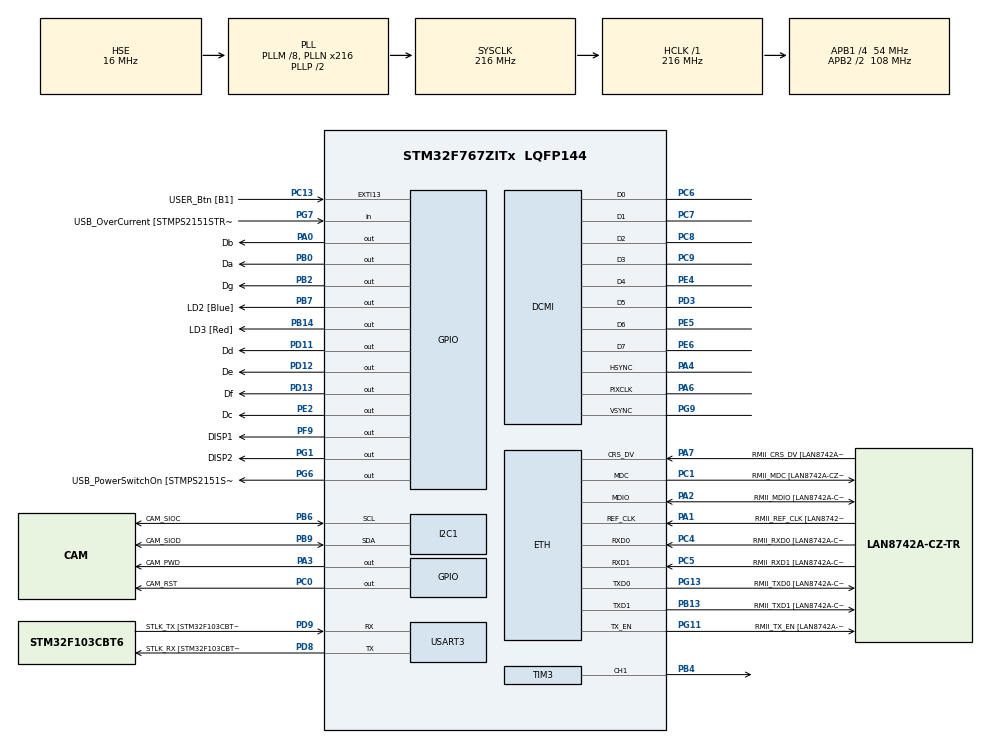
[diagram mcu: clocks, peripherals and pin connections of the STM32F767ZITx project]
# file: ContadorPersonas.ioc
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DCMI.HSPolarity=DCMI_HSPOLARITY_LOW
DCMI.PCKPolarity=DCMI_PCKPOLARITY_RISING
DCMI.VSPolarity=DCMI_VSPOLARITY_HIGH
Dma.DCMI.0.Direction=DMA_PERIPH_TO_MEMORY
Dma.DCMI.0.FIFOMode=DMA_FIFOMODE_ENABLE
Dma.DCMI.0.FIFOThreshold=DMA_FIFO_THRESHOLD_FULL
Dma.DCMI.0.Instance=DMA2_Stream1
Dma.DCMI.0.MemBurst=DMA_MBURST_SINGLE
Dma.DCMI.0.MemDataAlignment=DMA_MDATAALIGN_WORD
Dma.DCMI.0.MemInc=DMA_MINC_ENABLE
Dma.DCMI.0.Mode=DMA_CIRCULAR
Dma.DCMI.0.PeriphBurst=DMA_PBURST_SINGLE
Dma.DCMI.0.PeriphDataAlignment=DMA_PDATAALIGN_WORD
Dma.DCMI.0.PeriphInc=DMA_PINC_DISABLE
Dma.DCMI.0.Priority=DMA_PRIORITY_MEDIUM
Dma.Request0=DCMI
ETH.MACAddr=00\:80\:E1\:03\:35\:AA
ETH.MediaInterface=ETH_MEDIA_INTERFACE_RMII
ETH.PhyAddress=0
I2C1.Analog_Filter=I2C_ANALOGFILTER_ENABLE
I2C1.DualAddressMode=I2C_DUALADDRESS_DISABLE
I2C1.Timing=0x20404768
LWIP.GATEWAY_ADDRESS=192.168.000.001
LWIP.IP_ADDRESS=192.168.000.030
LWIP.LWIP_DHCP=0
LWIP.MEMP_NUM_TCP_PCB=1
LWIP.MEMP_NUM_TCP_PCB_LISTEN=1
LWIP.MEMP_NUM_UDP_PCB=1
LWIP.MEM_SIZE=350
LWIP.NETMASK_ADDRESS=255.255.255.000
LWIP.PBUF_POOL_BUFSIZE=650
LWIP.TCP_MSS=650
LWIP.TCP_SND_QUEUELEN=9
LWIP.TCP_TTL=10
LWIP.TCP_WND=700
LWIP.Version=v2.0.3_Cube
Mcu.Family=STM32F7
Mcu.Name=STM32F767ZITx
Mcu.Package=LQFP144
NVIC.DCMI_IRQn=true\:5\:0\:true\:false\:true\:true\:true
NVIC.DMA2_Stream1_IRQn=true\:5\:0\:true\:false\:true\:false\:true
NVIC.PriorityGroup=NVIC_PRIORITYGROUP_4
NVIC.TIM2_IRQn=true\:15\:0\:true\:false\:true\:true\:true
PA0/WKUP.GPIO_Label=Db
PA0/WKUP.Signal=GPIO_Output
PA1.GPIO_Label=RMII_REF_CLK [LAN8742A-CZ-TR_REFCLK0]
PA1.Mode=RMII
PA1.Signal=ETH_REF_CLK
PA10.GPIO_Label=USB_ID
PA10.Signal=USB_OTG_FS_ID
PA11.GPIO_Label=USB_DM
PA11.Signal=USB_OTG_FS_DM
PA12.GPIO_Label=USB_DP
PA12.Signal=USB_OTG_FS_DP
PA13.GPIO_Label=TMS
PA13.Signal=SYS_JTMS-SWDIO
PA14.GPIO_Label=TCK
PA14.Signal=SYS_JTCK-SWCLK
PA2.GPIO_Label=RMII_MDIO [LAN8742A-CZ-TR_MDIO]
PA2.Mode=RMII
PA2.Signal=ETH_MDIO
PA3.GPIO_Label=CAM_PWD
PA3.Signal=GPIO_Output
PA4.Mode=Slave_8_bits_External_Synchro
PA4.Signal=DCMI_HSYNC
PA6.Mode=Slave_8_bits_External_Synchro
PA6.Signal=DCMI_PIXCLK
PA7.GPIO_Label=RMII_CRS_DV [LAN8742A-CZ-TR_CRS_DV]
PA7.Mode=RMII
PA7.Signal=ETH_CRS_DV
PA8.GPIO_Label=USB_SOF [TP1]
PA8.Signal=USB_OTG_FS_SOF
PA9.GPIO_Label=USB_VBUS
PA9.Signal=USB_OTG_FS_VBUS
PB0.GPIO_Label=Da
PB0.Signal=GPIO_Output
PB13.GPIO_Label=RMII_TXD1 [LAN8742A-CZ-TR_TXD1]
PB13.Mode=RMII
PB13.Signal=ETH_TXD1
PB14.GPIO_Label=LD3 [Red]
PB14.GPIO_Speed=GPIO_SPEED_FREQ_VERY_HIGH
PB14.Signal=GPIO_Output
PB2.GPIO_Label=Dg
PB2.Signal=GPIO_Output
PB3.GPIO_Label=SW0
PB3.Signal=SYS_JTDO-SWO
PB4.Signal=S_TIM3_CH1
PB6.GPIO_Label=CAM_SIOC
PB6.GPIO_Speed=GPIO_SPEED_FREQ_HIGH
PB6.Mode=I2C
PB6.Signal=I2C1_SCL
PB7.GPIO_Label=LD2 [Blue]
PB7.Signal=GPIO_Output
PB9.GPIO_Label=CAM_SIOD
PB9.GPIO_Speed=GPIO_SPEED_FREQ_HIGH
PB9.Mode=I2C
PB9.Signal=I2C1_SDA
PC0.GPIO_Label=CAM_RST
PC0.Signal=GPIO_Output
PC1.GPIO_Label=RMII_MDC [LAN8742A-CZ-TR_MDC]
PC1.Mode=RMII
PC1.Signal=ETH_MDC
PC13.GPIO_Label=USER_Btn [B1]
PC13.Signal=GPXTI13
PC14/OSC32_IN.Signal=RCC_OSC32_IN
PC15/OSC32_OUT.Signal=RCC_OSC32_OUT
PC4.GPIO_Label=RMII_RXD0 [LAN8742A-CZ-TR_RXD0]
PC4.Mode=RMII
PC4.Signal=ETH_RXD0
PC5.GPIO_Label=RMII_RXD1 [LAN8742A-CZ-TR_RXD1]
PC5.Mode=RMII
PC5.Signal=ETH_RXD1
PC6.Mode=Slave_8_bits_External_Synchro
PC6.Signal=DCMI_D0
PC7.Mode=Slave_8_bits_External_Synchro
PC7.Signal=DCMI_D1
PC8.Mode=Slave_8_bits_External_Synchro
PC8.Signal=DCMI_D2
PC9.Mode=Slave_8_bits_External_Synchro
PC9.Signal=DCMI_D3
PD11.GPIO_Label=Dd
PD11.Signal=GPIO_Output
PD12.GPIO_Label=De
PD12.Signal=GPIO_Output
PD13.GPIO_Label=Df
PD13.Signal=GPIO_Output
PD3.Mode=Slave_8_bits_External_Synchro
PD3.Signal=DCMI_D5
PD8.GPIO_Label=STLK_RX [STM32F103CBT6_PA3]
PD8.GPIO_PuPd=GPIO_PULLUP
PD8.Mode=Asynchronous
PD8.Signal=USART3_TX
PD9.GPIO_Label=STLK_TX [STM32F103CBT6_PA2]
PD9.GPIO_PuPd=GPIO_PULLUP
PD9.Mode=Asynchronous
PD9.Signal=USART3_RX
PE2.GPIO_Label=Dc
PE2.Signal=GPIO_Output
PE4.Mode=Slave_8_bits_External_Synchro
PE4.Signal=DCMI_D4
PE5.Mode=Slave_8_bits_External_Synchro
PE5.Signal=DCMI_D6
PE6.Mode=Slave_8_bits_External_Synchro
PE6.Signal=DCMI_D7
PF9.GPIO_Label=DISP1
PF9.GPIO_ModeDefaultOutputPP=GPIO_MODE_OUTPUT_OD
PF9.PinState=GPIO_PIN_SET
PF9.Signal=GPIO_Output
PG1.GPIO_Label=DISP2
PG1.GPIO_ModeDefaultOutputPP=GPIO_MODE_OUTPUT_OD
PG1.PinState=GPIO_PIN_SET
PG1.Signal=GPIO_Output
PG11.GPIO_Label=RMII_TX_EN [LAN8742A-CZ-TR_TXEN]
PG11.Mode=RMII
PG11.Signal=ETH_TX_EN
PG13.GPIO_Label=RMII_TXD0 [LAN8742A-CZ-TR_TXD0]
PG13.Mode=RMII
PG13.Signal=ETH_TXD0
PG6.GPIO_Label=USB_PowerSwitchOn [STMPS2151STR_EN]
PG6.Signal=GPIO_Output
PG7.GPIO_Label=USB_OverCurrent [STMPS2151STR_FAULT]
PG7.Signal=GPIO_Input
PG9.Mode=Slave_8_bits_External_Synchro
PG9.Signal=DCMI_VSYNC
PH0/OSC_IN.GPIO_Label=MCO [STM32F103CBT6_PA8]
PH0/OSC_IN.Mode=HSE-External-Oscillator
PH0/OSC_IN.Signal=RCC_OSC_IN
PH1/OSC_OUT.Mode=HSE-External-Oscillator
PH1/OSC_OUT.Signal=RCC_OSC_OUT
ProjectManager.HeapSize=0x200
ProjectManager.StackSize=0x400
ProjectManager.TargetToolchain=TrueSTUDIO
RCC.48MHZClocksFreq_Value=24000000
RCC.AHBFreq_Value=216000000
RCC.APB1CLKDivider=RCC_HCLK_DIV4
RCC.APB1Freq_Value=54000000
RCC.APB1TimFreq_Value=108000000
RCC.APB2CLKDivider=RCC_HCLK_DIV2
RCC.APB2Freq_Value=108000000
RCC.APB2TimFreq_Value=216000000
RCC.CortexFreq_Value=216000000
RCC.HCLKFreq_Value=216000000
RCC.HSE_VALUE=16000000
RCC.HSI_VALUE=16000000
RCC.LSE_VALUE=32768
RCC.PLLM=8
RCC.PLLMUL=RCC_PLL_MUL9
RCC.PLLN=216
RCC.PLLSourceVirtual=RCC_PLLSOURCE_HSE
RCC.PRESCALERUSB=RCC_USBCLKSOURCE_PLL_DIV1_5
RCC.SYSCLKFreq_VALUE=216000000
RCC.SYSCLKSource=RCC_SYSCLKSOURCE_PLLCLK
RCC.SYSCLKSourceVirtual=RCC_SYSCLKSOURCE_PLLCLK
RCC.USART3CLockSelection=RCC_USART3CLKSOURCE_HSI
RCC.USBFreq_Value=216000000
RCC.VCOOutputFreq_Value=432000000
SH.S_TIM3_CH1.0=TIM3_CH1,PWM Generation1 CH1
TIM2.AutoReloadPreload=TIM_AUTORELOAD_PRELOAD_ENABLE
TIM2.Period=20
TIM2.Prescaler=10000
TIM3.AutoReloadPreload=TIM_AUTORELOAD_PRELOAD_ENABLE
TIM3.Channel-PWM\ Generation1\ CH1=TIM_CHANNEL_1
TIM3.Period=2
TIM3.Prescaler=1
TIM3.Pulse-PWM\ Generation1\ CH1=1
USART3.VirtualMode-Asynchronous=VM_ASYNC
VP_LWIP_VS_Enabled.Mode=Enabled
VP_TIM2_VS_ClockSourceINT.Mode=Internal
VP_TIM3_VS_ClockSourceINT.Mode=Internal
board=NUCLEO-F767ZI

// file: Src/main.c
/* USER CODE BEGIN Header */
/**
 ******************************************************************************
 * @file           : main.c
 * @brief          : Main program body
 ******************************************************************************
 * @attention
 *
 * <h2><center>&copy; Copyright (c) 2019 STMicroelectronics.
 * All rights reserved.</center></h2>
 *
 * This software component is licensed by ST under BSD 3-Clause license,
 * the "License"; You may not use this file except in compliance with the
 * License. You may obtain a copy of the License at:
 *                        opensource.org/licenses/BSD-3-Clause
 *
 ******************************************************************************
 */
/* USER CODE END Header */

#include "main.h"
#include "lwip.h"

/* USER CODE BEGIN Includes */

#include <stdio.h>
#include <tcp.h>
#include <string.h>
#include "dwt_delay.h"
#include "ov7670.h"
#include "funciones.h"
#include "global.h"
//#include "OV7670_control.h"

/* USER CODE END Includes */

/* USER CODE BEGIN PTD */

// Image settings

#define COLOR	0

/*
struct tcp_pcb* conn;
struct tcp_pcb* socket;
extern struct netif gnetif;
*/

uint16_t rowEnv = 0;
uint8_t flagEnviando = 0;

char s_buff[30];
uint8_t flagTCP = 0;
uint32_t tiempo = 0;
uint8_t numero = 0;
uint8_t brillo = 2;
uint8_t digTurno = 0;
uint8_t dig7seg[] =
		{ 0x3F, 0x06, 0x5B, 0x4F, 0x66, 0x6D, 0x7D, 0x07, 0x7F, 0x67 };

// Image buffer
uint16_t frame_buffer[IMG_ROWS * IMG_COLUMNS];
uint8_t img1[IMG_ROWS * IMG_COLUMNS];
uint8_t img2[IMG_ROWS * IMG_COLUMNS];
uint8_t img3[IMG_ROWS * IMG_COLUMNS];

uint8_t flagFrame = 0;

/* USER CODE END PTD */

DCMI_HandleTypeDef hdcmi;
DMA_HandleTypeDef hdma_dcmi;

I2C_HandleTypeDef hi2c1;

TIM_HandleTypeDef htim2;
TIM_HandleTypeDef htim3;

UART_HandleTypeDef huart3;

/* USER CODE BEGIN PV */

// Redirecciono el 'printf' al UART 3
extern int __io_putchar(int ch) {
	HAL_UART_Transmit(&huart3, (uint8_t*) &ch, 1, 0xFFFF);
	return ch;
}

/* USER CODE END PV */

void SystemClock_Config(void);
static void MX_GPIO_Init(void);
static void MX_DMA_Init(void);
static void MX_TIM2_Init(void);
static void MX_TIM3_Init(void);
static void MX_USART3_UART_Init(void);
static void MX_DCMI_Init(void);
static void MX_I2C1_Init(void);

/* USER CODE BEGIN 0 */
void HAL_DCMI_FrameEventCallback(DCMI_HandleTypeDef *obj) {
	if (hdcmi.Instance != obj->Instance)
		return;

	HAL_GPIO_TogglePin(LD2_GPIO_Port, LD2_Pin);
	flagFrame = 1;
}

// Barrido de Displays
void HAL_TIM_PeriodElapsedCallback(TIM_HandleTypeDef *htim) {
	if (htim->Instance != htim2.Instance)
		return;

	//Apagar
	HAL_GPIO_WritePin(DISP1_GPIO_Port, DISP1_Pin, GPIO_PIN_SET);
	HAL_GPIO_WritePin(DISP2_GPIO_Port, DISP2_Pin, GPIO_PIN_SET);

	digTurno++;

	if (digTurno % brillo) {
		return;
	}

	if (digTurno >= (brillo * 2)) {
		digTurno = 0;
	}

	GPIO_TypeDef* Puerto = DISP1_GPIO_Port;
	uint16_t Pin = DISP1_Pin;
	uint8_t valor = numero % 10;

	if (digTurno) {
		Puerto = DISP2_GPIO_Port;
		Pin = DISP2_Pin;
		valor = numero / 10;
	}

	if (valor > 9)
		valor = 9;

	uint8_t digito = dig7seg[valor];

	// Quitar el 0 en numeros menores a 10.
	if (digTurno && !valor) {
		digito = 0;
	}

	HAL_GPIO_WritePin(Da_GPIO_Port, Da_Pin,
			(digito & 0x01) ? GPIO_PIN_SET : GPIO_PIN_RESET);
	HAL_GPIO_WritePin(Db_GPIO_Port, Db_Pin,
			(digito & 0x02) ? GPIO_PIN_SET : GPIO_PIN_RESET);
	HAL_GPIO_WritePin(Dc_GPIO_Port, Dc_Pin,
			(digito & 0x04) ? GPIO_PIN_SET : GPIO_PIN_RESET);
	HAL_GPIO_WritePin(Dd_GPIO_Port, Dd_Pin,
			(digito & 0x08) ? GPIO_PIN_SET : GPIO_PIN_RESET);
	HAL_GPIO_WritePin(De_GPIO_Port, De_Pin,
			(digito & 0x10) ? GPIO_PIN_SET : GPIO_PIN_RESET);
	HAL_GPIO_WritePin(Df_GPIO_Port, Df_Pin,
			(digito & 0x20) ? GPIO_PIN_SET : GPIO_PIN_RESET);
	HAL_GPIO_WritePin(Dg_GPIO_Port, Dg_Pin,
			(digito & 0x40) ? GPIO_PIN_SET : GPIO_PIN_RESET);

	//Prender
	HAL_GPIO_WritePin(Puerto, Pin, GPIO_PIN_RESET);
}

int getTiempoMS() {
	int res = HAL_GetTick() - tiempo;
	tiempo = HAL_GetTick();
	return res;
}
/*

err_t tcp_echoserver_recv(void *arg, struct tcp_pcb *tpcb, struct pbuf *p,
		err_t err) {

	char* buff = (char*) p->payload;
	buff[p->len] = 0;

	printf("TCP_Recv: (%i) '%s'\r\n", err, buff);
	if (strcmp(buff, "<FRAME>") == 0) {
		flagTCP = 1;
	} else if (strcmp(buff, "<CLOSE>") == 0) {
		tcp_arg(tpcb, NULL);
		tcp_sent(tpcb, NULL);
		tcp_recv(tpcb, NULL);
		tcp_close(tpcb);

		printf("TCP Close\r\n");
	}

	// Avisar a TCP que tenemos los datos
	tcp_recved(tpcb, p->tot_len);

	//Free the packet buffer
	pbuf_free(p);
	return err;
}

void enviarIMG(void) {
	sprintf(s_buff, "<FRAME:%u:%u:%u>", IMG_ROWS, IMG_COLUMNS, COLOR);
	rowEnv = 0;
	tcp_write(socket, s_buff, strlen(s_buff), 0);
}

err_t tcp_echoserver_sent(void *arg, struct tcp_pcb *tpcb, u16_t len) {
	//printf("TCP_Sent: %u,  fila: %u \n", len, rowEnv);

	// Se termino de enviar <FIN>
	if (len == 5) {
		flagEnviando = 0;

		return ERR_ALREADY;
	}

	// Ultima FILA enviada
	if (rowEnv == IMG_ROWS) {
		printf("IMG_FIN\r\n");
		tcp_write(socket, "<FIN>", 5, 0);
		return ERR_OK;
	}

	// Termino de enviar la cabecera.
#if COLOR==1
	if (len > 10 && len < (IMG_COLUMNS / 2)) {
#else
	if (len > 10 && len < (IMG_COLUMNS / 4)) {
#endif
		//printf("Primero\r\n");
		rowEnv = 0;
	}

	// Envio de la fila actual (rowEnv)
#if COLOR==1
	uint8_t* ptr = (uint8_t *) frame_buffer;
	ptr += rowEnv * IMG_COLUMNS * 2;

	tcp_write(socket, ptr, IMG_COLUMNS * 2, 0);
#else
	uint8_t* ptr = (uint8_t *) img3;
	ptr += rowEnv * IMG_COLUMNS;

	tcp_write(socket, ptr, IMG_COLUMNS, 0);
#endif
	rowEnv++;

	return ERR_OK;

}

void tcp_echoserver_error(void *arg, err_t err) {
	printf("TCP_ERROR! %i\r\n", err);
}
*/

/*
 err_t tcp_echoserver_poll(void *arg, struct tcp_pcb *tpcb){
 printf("TCP_Poll\n");
 return ERR_OK;
 }
 */

/*
static err_t tcp_echoserver_accept(void *arg, struct tcp_pcb *newpcb, err_t err) {
	printf("\nTCP_echoserver_accept\r\n");

	tcp_accepted(newpcb);

	if (socket != NULL) {
		memp_free(MEMP_TCP_PCB, socket);
	}

	socket = newpcb;
	// pass newly allocated es structure as argument to newpcb
	tcp_arg(newpcb, NULL);

	// initialize lwIP tcp_recv callback function for newpcb
	tcp_recv(newpcb, tcp_echoserver_recv);

	tcp_sent(newpcb, tcp_echoserver_sent);

	// initialize lwIP tcp_err callback function for newpcb
	tcp_err(newpcb, tcp_echoserver_error);

	// initialize lwIP tcp_poll callback function for newpcb
	//tcp_poll(newpcb, tcp_echoserver_poll, 1);
	return ERR_OK;
}
*/

/* USER CODE END 0 */

int main(void)
{

  /* MCU Configuration--------------------------------------------------------*/

  /* Reset of all peripherals, Initializes the Flash interface and the Systick. */
  HAL_Init();

  /* Configure the system clock */
  SystemClock_Config();

  /* Initialize all configured peripherals */
  MX_GPIO_Init();
  MX_DMA_Init();
  MX_TIM2_Init();
  MX_TIM3_Init();
  MX_USART3_UART_Init();
  MX_DCMI_Init();
  MX_I2C1_Init();
  //MX_LWIP_Init();
  /* USER CODE BEGIN 2 */

	// Probar
	// https://github.com/erikandre/stm32-ov7670/blob/master/src/OV7670_control.c
	HAL_GPIO_WritePin(LD2_GPIO_Port, LD2_Pin, GPIO_PIN_SET);
	HAL_GPIO_WritePin(LD3_GPIO_Port, LD3_Pin, GPIO_PIN_SET);
	HAL_Delay(300);
	HAL_GPIO_WritePin(LD2_GPIO_Port, LD2_Pin, GPIO_PIN_RESET);
	HAL_GPIO_WritePin(LD3_GPIO_Port, LD3_Pin, GPIO_PIN_RESET);

	printf("\n\n\n\n\nEMPEZANDO!\r\n\n");

	// DHCP
	//printf("Asignacion DHCP\r\n");

	uint8_t primero = 1;
//	while (1) {
//		MX_LWIP_Process();
//		if (gnetif.ip_addr.addr != 0) {
//			HAL_GPIO_WritePin(LD3_GPIO_Port, LD3_Pin, GPIO_PIN_SET);
//
//			uint32_t ip = gnetif.ip_addr.addr;
//
//			printf("IP Asignada: %i.%i.%i.%i\r\n", (uint8_t) ip,
//					(uint8_t) (ip >> 8), (uint8_t) (ip >> 16),
//					(uint8_t) (ip >> 24));
//
//			break;
//		}
//		HAL_Delay(10);
//	}
	//

	DWT_Init(); // Delay de micro segundos

	tiempo = HAL_GetTick();

	HAL_TIM_Base_Start_IT(&htim2);

	// CLK Init
	HAL_TIM_PWM_Start(&htim3, TIM_CHANNEL_1);

	while (!OV7670_init()) {
		printf("CAM: Error al Inicializar.\r\n");
		HAL_Delay(300);
	}

	OV7670_config();

	printf("CAM: Init (%ums)\r\n", getTiempoMS());

	uint32_t Im_size = IMG_ROWS * IMG_COLUMNS / 2;

	HAL_DCMI_Start_DMA(&hdcmi, DCMI_MODE_CONTINUOUS, (uint32_t) frame_buffer,
			Im_size);

	//Crear Conexion TCP Server
	//socket = NULL;
	//err_t tcp_err;

	//printf("Creando TCP_PCB\r\n");
	//conn = tcp_new();

//	printf("TCP BIND\r\n");
//	tcp_err = tcp_bind(conn, IP_ADDR_ANY, 7777); // Puerto 7777
//
//	if (tcp_err == ERR_OK) {
//		printf("TCP ESCUCHANDO\r\n");
//		conn = tcp_listen(conn);
//
//		printf("TCP ACEPTANDO\r\n");
//		tcp_accept(conn, tcp_echoserver_accept);
//
//	} else {
//		printf("TCP No se pudo crear conexion\r\n");
//		memp_free(MEMP_TCP_PCB, conn);
//		conn = NULL;
//	}
	///////////////////

  /* USER CODE END 2 */

  /* Infinite loop */
  /* USER CODE BEGIN WHILE */

    // Definición de Parametros
    int linea1 = (int)((ANCHO / 2.0) * 1.2);
    int linea2 = (int)((ANCHO / 2.0) * 0.8);
    const int cteMovimiento = (int)(TOTAL * 0.01); // 1%
    //const int cteTamBlob = (int)(TOTAL * 0.05); // 5%;

    // Variables
    uint16_t* rectangulos = (uint16_t*) malloc(4); //rectangulo con x1,y1,x2,y2
    uint8_t estado = 0;
	uint8_t estado_ant = 0;
	uint8_t estados[20];
	for(uint8_t i=0; i < 20; i++) estados[i]=0;
	uint8_t ind_estado = 0;
	uint8_t direccion = 0;

	while (1) {
    /* USER CODE END WHILE */

    /* USER CODE BEGIN 3 */
		//MX_LWIP_Process();

		if(flagFrame){
			HAL_DCMI_Suspend(&hdcmi);

			//Proceso normal
			//Convertir imagen a GRIS
			for(uint32_t pos=0;pos < (IMG_COLUMNS * IMG_ROWS);pos++){
				uint16_t pixel = frame_buffer[pos];
				uint8_t r,g,b;

				// Formato RGB555
				b = pixel & 0x1f;
				g = (pixel >> 5) & 0x1f;
				r = (pixel >> 10) & 0x1f;
				img1[pos] = (b+g+r) / 3;
			}
			//Primera Imagen
			if(primero){
				primero = 0;
				copy(img1, img2);
			}

			diferencia(img1, img2, 10);

			int cont_blancos = conteo(img2);

			if(cont_blancos > cteMovimiento){
				// "CON MOVIMIENTO"
				printf("Con movimiento!\r\n");

				binarizar(img2, 10);

				erosion(img2);
				erosion(img2);
				erosion(img2);
				erosion(img2);
				erosion(img2);

				bound_rectangulo(img2, 255, rectangulos);

				estado = 0;
				direccion = 0;

				// Dibujar rectangulos contenedores de objetos
				uint16_t x1=0,x2=0;
				x1 = rectangulos[0];
				//y1 = rectangulos[ind_rect + 1];
				x2 = rectangulos[0 + 2];
				//y2 = rectangulos[ind_rect + 3];

				if((x1 < linea1) && (x2 > linea1)){
					estado |= (1 << 0);
					printf("LINEA UP\r\n");
					//cout << "LINEA UP: " << (int)estado << " - " << (int)estado_ant << endl;
				}

				if((x1 < linea2) && (x2 > linea2)){
					estado |= (1 << 1);
					printf("LINEA DW\r\n");
					//cout << "LINEA DW: " << (int)estado << " - " << (int)estado_ant << endl;
				}

				if(estado != estado_ant){
					estados[ind_estado] = estado;

					if(estado == 0 && ind_estado > 0){
						//cout << "Procesar: " << (int)estado << "|";
						//for(uint8_t i=0; i < 20; i++) cout << (int)estados[i];
						//cout << endl;

						for(uint8_t i=1; i < 20; i++){
							if(estados[i-1]==2 && estados[i]==0){
								if(estados[0]==1 || estados[0]==3)
									direccion = 1;
							}
							else if(estados[i-1]==1 && estados[i]==0){
								if(estados[0]==2 || estados[0]==3)
									direccion = 2;
							}
							else if(estados[i-1]==3 && estados[i]==0){
								if(estados[0]==1)
									direccion = 1;
								else if(estados[0]==2)
									direccion = 2;
							}
						}

						if(direccion == 1){
							printf("ENTRANDO!\r\n");
							numero++;
							if (numero > 99)
								numero = 99;
						}
						else if(direccion == 2){
							printf("SALIENDO!\r\n");
							numero--;
							if(numero < 0) numero = 0;
						}

						for(uint8_t i=0; i < 20; i++) estados[i]=0;
						ind_estado = 0;
					}
					else{
						ind_estado++;
					}

					estado_ant = estado;
				}
			}

//			// Enviar por TCP la Imagen
//			if (flagTCP) {
//				flagTCP = 0;
//
//				// Suspende captura de la camara
//				flagEnviando = 1;
//
//				printf("Enviar IMG por TCP\r\n");
//				copy(img2, img3);
//				enviarIMG();
//			}

			// Copiar imagen actual a anterior
			copy(img1, img2);

			flagFrame = 0;
			flagEnviando = 0;
		}

		if (!flagEnviando
				&& HAL_DCMI_GetState(&hdcmi) == HAL_DCMI_STATE_SUSPENDED) {
			//printf("Reanudar Captura Camara\r\n");
			HAL_GPIO_WritePin(LD3_GPIO_Port, LD3_Pin, GPIO_PIN_RESET);
			HAL_DCMI_Resume(&hdcmi);
		}

		/*
		 // Brillo
		 if (HAL_GPIO_ReadPin(USER_Btn_GPIO_Port, USER_Btn_Pin)) {
		 HAL_GPIO_WritePin(LD2_GPIO_Port, LD2_Pin, GPIO_PIN_SET);

		 brillo++;
		 if (brillo >= 12)
		 brillo = 2;

		 HAL_Delay(100);
		 } else {
		 HAL_GPIO_WritePin(LD2_GPIO_Port, LD2_Pin, GPIO_PIN_RESET);
		 }
		 */

	}
  /* USER CODE END 3 */
}

void SystemClock_Config(void)
{
  RCC_OscInitTypeDef RCC_OscInitStruct = {0};
  RCC_ClkInitTypeDef RCC_ClkInitStruct = {0};
  RCC_PeriphCLKInitTypeDef PeriphClkInitStruct = {0};

  /** Configure the main internal regulator output voltage
  */
  __HAL_RCC_PWR_CLK_ENABLE();
  __HAL_PWR_VOLTAGESCALING_CONFIG(PWR_REGULATOR_VOLTAGE_SCALE1);
  /** Initializes the CPU, AHB and APB busses clocks
  */
  RCC_OscInitStruct.OscillatorType = RCC_OSCILLATORTYPE_HSI|RCC_OSCILLATORTYPE_HSE;
  RCC_OscInitStruct.HSEState = RCC_HSE_ON;
  RCC_OscInitStruct.HSIState = RCC_HSI_ON;
  RCC_OscInitStruct.HSICalibrationValue = RCC_HSICALIBRATION_DEFAULT;
  RCC_OscInitStruct.PLL.PLLState = RCC_PLL_ON;
  RCC_OscInitStruct.PLL.PLLSource = RCC_PLLSOURCE_HSE;
  RCC_OscInitStruct.PLL.PLLM = 8;
  RCC_OscInitStruct.PLL.PLLN = 216;
  RCC_OscInitStruct.PLL.PLLP = RCC_PLLP_DIV2;
  RCC_OscInitStruct.PLL.PLLQ = 2;
  if (HAL_RCC_OscConfig(&RCC_OscInitStruct) != HAL_OK)
  {
    Error_Handler();
  }
  /** Activate the Over-Drive mode
  */
  if (HAL_PWREx_EnableOverDrive() != HAL_OK)
  {
    Error_Handler();
  }
  /** Initializes the CPU, AHB and APB busses clocks
  */
  RCC_ClkInitStruct.ClockType = RCC_CLOCKTYPE_HCLK|RCC_CLOCKTYPE_SYSCLK
                              |RCC_CLOCKTYPE_PCLK1|RCC_CLOCKTYPE_PCLK2;
  RCC_ClkInitStruct.SYSCLKSource = RCC_SYSCLKSOURCE_PLLCLK;
  RCC_ClkInitStruct.AHBCLKDivider = RCC_SYSCLK_DIV1;
  RCC_ClkInitStruct.APB1CLKDivider = RCC_HCLK_DIV4;
  RCC_ClkInitStruct.APB2CLKDivider = RCC_HCLK_DIV2;

  if (HAL_RCC_ClockConfig(&RCC_ClkInitStruct, FLASH_LATENCY_7) != HAL_OK)
  {
    Error_Handler();
  }
  PeriphClkInitStruct.PeriphClockSelection = RCC_PERIPHCLK_USART3|RCC_PERIPHCLK_I2C1;
  PeriphClkInitStruct.Usart3ClockSelection = RCC_USART3CLKSOURCE_HSI;
  PeriphClkInitStruct.I2c1ClockSelection = RCC_I2C1CLKSOURCE_PCLK1;
  if (HAL_RCCEx_PeriphCLKConfig(&PeriphClkInitStruct) != HAL_OK)
  {
    Error_Handler();
  }
}

static void MX_DCMI_Init(void)
{

  hdcmi.Instance = DCMI;
  hdcmi.Init.SynchroMode = DCMI_SYNCHRO_HARDWARE;
  hdcmi.Init.PCKPolarity = DCMI_PCKPOLARITY_RISING;
  hdcmi.Init.VSPolarity = DCMI_VSPOLARITY_HIGH;
  hdcmi.Init.HSPolarity = DCMI_HSPOLARITY_LOW;
  hdcmi.Init.CaptureRate = DCMI_CR_ALL_FRAME;
  hdcmi.Init.ExtendedDataMode = DCMI_EXTEND_DATA_8B;
  hdcmi.Init.JPEGMode = DCMI_JPEG_DISABLE;
  hdcmi.Init.ByteSelectMode = DCMI_BSM_ALL;
  hdcmi.Init.ByteSelectStart = DCMI_OEBS_ODD;
  hdcmi.Init.LineSelectMode = DCMI_LSM_ALL;
  hdcmi.Init.LineSelectStart = DCMI_OELS_ODD;
  if (HAL_DCMI_Init(&hdcmi) != HAL_OK)
  {
    Error_Handler();
  }

}

static void MX_I2C1_Init(void)
{

  hi2c1.Instance = I2C1;
  hi2c1.Init.Timing = 0x20404768;
  hi2c1.Init.OwnAddress1 = 0;
  hi2c1.Init.AddressingMode = I2C_ADDRESSINGMODE_7BIT;
  hi2c1.Init.DualAddressMode = I2C_DUALADDRESS_DISABLE;
  hi2c1.Init.OwnAddress2 = 0;
  hi2c1.Init.OwnAddress2Masks = I2C_OA2_NOMASK;
  hi2c1.Init.GeneralCallMode = I2C_GENERALCALL_DISABLE;
  hi2c1.Init.NoStretchMode = I2C_NOSTRETCH_DISABLE;
  if (HAL_I2C_Init(&hi2c1) != HAL_OK)
  {
    Error_Handler();
  }
  /** Configure Analogue filter
  */
  if (HAL_I2CEx_ConfigAnalogFilter(&hi2c1, I2C_ANALOGFILTER_ENABLE) != HAL_OK)
  {
    Error_Handler();
  }
  /** Configure Digital filter
  */
  if (HAL_I2CEx_ConfigDigitalFilter(&hi2c1, 0) != HAL_OK)
  {
    Error_Handler();
  }

}

static void MX_TIM2_Init(void)
{

  TIM_ClockConfigTypeDef sClockSourceConfig = {0};
  TIM_MasterConfigTypeDef sMasterConfig = {0};

  htim2.Instance = TIM2;
  htim2.Init.Prescaler = 10000;
  htim2.Init.CounterMode = TIM_COUNTERMODE_UP;
  htim2.Init.Period = 20;
  htim2.Init.ClockDivision = TIM_CLOCKDIVISION_DIV1;
  htim2.Init.AutoReloadPreload = TIM_AUTORELOAD_PRELOAD_ENABLE;
  if (HAL_TIM_Base_Init(&htim2) != HAL_OK)
  {
    Error_Handler();
  }
  sClockSourceConfig.ClockSource = TIM_CLOCKSOURCE_INTERNAL;
  if (HAL_TIM_ConfigClockSource(&htim2, &sClockSourceConfig) != HAL_OK)
  {
    Error_Handler();
  }
  sMasterConfig.MasterOutputTrigger = TIM_TRGO_RESET;
  sMasterConfig.MasterSlaveMode = TIM_MASTERSLAVEMODE_DISABLE;
  if (HAL_TIMEx_MasterConfigSynchronization(&htim2, &sMasterConfig) != HAL_OK)
  {
    Error_Handler();
  }

}

static void MX_TIM3_Init(void)
{

  TIM_ClockConfigTypeDef sClockSourceConfig = {0};
  TIM_MasterConfigTypeDef sMasterConfig = {0};
  TIM_OC_InitTypeDef sConfigOC = {0};

  htim3.Instance = TIM3;
  htim3.Init.Prescaler = 1;
  htim3.Init.CounterMode = TIM_COUNTERMODE_UP;
  htim3.Init.Period = 2;
  htim3.Init.ClockDivision = TIM_CLOCKDIVISION_DIV1;
  htim3.Init.AutoReloadPreload = TIM_AUTORELOAD_PRELOAD_ENABLE;
  if (HAL_TIM_Base_Init(&htim3) != HAL_OK)
  {
    Error_Handler();
  }
  sClockSourceConfig.ClockSource = TIM_CLOCKSOURCE_INTERNAL;
  if (HAL_TIM_ConfigClockSource(&htim3, &sClockSourceConfig) != HAL_OK)
  {
    Error_Handler();
  }
  if (HAL_TIM_PWM_Init(&htim3) != HAL_OK)
  {
    Error_Handler();
  }
  sMasterConfig.MasterOutputTrigger = TIM_TRGO_RESET;
  sMasterConfig.MasterSlaveMode = TIM_MASTERSLAVEMODE_DISABLE;
  if (HAL_TIMEx_MasterConfigSynchronization(&htim3, &sMasterConfig) != HAL_OK)
  {
    Error_Handler();
  }
  sConfigOC.OCMode = TIM_OCMODE_PWM1;
  sConfigOC.Pulse = 1;
  sConfigOC.OCPolarity = TIM_OCPOLARITY_HIGH;
  sConfigOC.OCFastMode = TIM_OCFAST_DISABLE;
  if (HAL_TIM_PWM_ConfigChannel(&htim3, &sConfigOC, TIM_CHANNEL_1) != HAL_OK)
  {
    Error_Handler();
  }
  HAL_TIM_MspPostInit(&htim3);

}

static void MX_USART3_UART_Init(void)
{

  huart3.Instance = USART3;
  huart3.Init.BaudRate = 9600;
  huart3.Init.WordLength = UART_WORDLENGTH_8B;
  huart3.Init.StopBits = UART_STOPBITS_1;
  huart3.Init.Parity = UART_PARITY_NONE;
  huart3.Init.Mode = UART_MODE_TX_RX;
  huart3.Init.HwFlowCtl = UART_HWCONTROL_NONE;
  huart3.Init.OverSampling = UART_OVERSAMPLING_16;
  huart3.Init.OneBitSampling = UART_ONE_BIT_SAMPLE_DISABLE;
  huart3.AdvancedInit.AdvFeatureInit = UART_ADVFEATURE_NO_INIT;
  if (HAL_UART_Init(&huart3) != HAL_OK)
  {
    Error_Handler();
  }

}

static void MX_DMA_Init(void)
{
  /* DMA controller clock enable */
  __HAL_RCC_DMA2_CLK_ENABLE();

  /* DMA interrupt init */
  /* DMA2_Stream1_IRQn interrupt configuration */
  HAL_NVIC_SetPriority(DMA2_Stream1_IRQn, 5, 0);
  HAL_NVIC_EnableIRQ(DMA2_Stream1_IRQn);

}

static void MX_GPIO_Init(void)
{
  GPIO_InitTypeDef GPIO_InitStruct = {0};

  /* GPIO Ports Clock Enable */
  __HAL_RCC_GPIOE_CLK_ENABLE();
  __HAL_RCC_GPIOC_CLK_ENABLE();
  __HAL_RCC_GPIOF_CLK_ENABLE();
  __HAL_RCC_GPIOH_CLK_ENABLE();
  __HAL_RCC_GPIOA_CLK_ENABLE();
  __HAL_RCC_GPIOB_CLK_ENABLE();
  __HAL_RCC_GPIOG_CLK_ENABLE();
  __HAL_RCC_GPIOD_CLK_ENABLE();

  /*Configure GPIO pin Output Level */
  HAL_GPIO_WritePin(Dc_GPIO_Port, Dc_Pin, GPIO_PIN_RESET);

  /*Configure GPIO pin Output Level */
  HAL_GPIO_WritePin(DISP1_GPIO_Port, DISP1_Pin, GPIO_PIN_SET);

  /*Configure GPIO pin Output Level */
  HAL_GPIO_WritePin(CAM_RST_GPIO_Port, CAM_RST_Pin, GPIO_PIN_RESET);

  /*Configure GPIO pin Output Level */
  HAL_GPIO_WritePin(GPIOA, Db_Pin|CAM_PWD_Pin, GPIO_PIN_RESET);

  /*Configure GPIO pin Output Level */
  HAL_GPIO_WritePin(GPIOB, Da_Pin|Dg_Pin|LD3_Pin|LD2_Pin, GPIO_PIN_RESET);

  /*Configure GPIO pin Output Level */
  HAL_GPIO_WritePin(DISP2_GPIO_Port, DISP2_Pin, GPIO_PIN_SET);

  /*Configure GPIO pin Output Level */
  HAL_GPIO_WritePin(GPIOD, Dd_Pin|De_Pin|Df_Pin, GPIO_PIN_RESET);

  /*Configure GPIO pin Output Level */
  HAL_GPIO_WritePin(USB_PowerSwitchOn_GPIO_Port, USB_PowerSwitchOn_Pin, GPIO_PIN_RESET);

  /*Configure GPIO pin : Dc_Pin */
  GPIO_InitStruct.Pin = Dc_Pin;
  GPIO_InitStruct.Mode = GPIO_MODE_OUTPUT_PP;
  GPIO_InitStruct.Pull = GPIO_NOPULL;
  GPIO_InitStruct.Speed = GPIO_SPEED_FREQ_LOW;
  HAL_GPIO_Init(Dc_GPIO_Port, &GPIO_InitStruct);

  /*Configure GPIO pin : USER_Btn_Pin */
  GPIO_InitStruct.Pin = USER_Btn_Pin;
  GPIO_InitStruct.Mode = GPIO_MODE_IT_RISING;
  GPIO_InitStruct.Pull = GPIO_NOPULL;
  HAL_GPIO_Init(USER_Btn_GPIO_Port, &GPIO_InitStruct);

  /*Configure GPIO pin : DISP1_Pin */
  GPIO_InitStruct.Pin = DISP1_Pin;
  GPIO_InitStruct.Mode = GPIO_MODE_OUTPUT_OD;
  GPIO_InitStruct.Pull = GPIO_NOPULL;
  GPIO_InitStruct.Speed = GPIO_SPEED_FREQ_LOW;
  HAL_GPIO_Init(DISP1_GPIO_Port, &GPIO_InitStruct);

  /*Configure GPIO pin : CAM_RST_Pin */
  GPIO_InitStruct.Pin = CAM_RST_Pin;
  GPIO_InitStruct.Mode = GPIO_MODE_OUTPUT_PP;
  GPIO_InitStruct.Pull = GPIO_NOPULL;
  GPIO_InitStruct.Speed = GPIO_SPEED_FREQ_LOW;
  HAL_GPIO_Init(CAM_RST_GPIO_Port, &GPIO_InitStruct);

  /*Configure GPIO pins : Db_Pin CAM_PWD_Pin */
  GPIO_InitStruct.Pin = Db_Pin|CAM_PWD_Pin;
  GPIO_InitStruct.Mode = GPIO_MODE_OUTPUT_PP;
  GPIO_InitStruct.Pull = GPIO_NOPULL;
  GPIO_InitStruct.Speed = GPIO_SPEED_FREQ_LOW;
  HAL_GPIO_Init(GPIOA, &GPIO_InitStruct);

  /*Configure GPIO pins : Da_Pin Dg_Pin LD2_Pin */
  GPIO_InitStruct.Pin = Da_Pin|Dg_Pin|LD2_Pin;
  GPIO_InitStruct.Mode = GPIO_MODE_OUTPUT_PP;
  GPIO_InitStruct.Pull = GPIO_NOPULL;
  GPIO_InitStruct.Speed = GPIO_SPEED_FREQ_LOW;
  HAL_GPIO_Init(GPIOB, &GPIO_InitStruct);

  /*Configure GPIO pin : DISP2_Pin */
  GPIO_InitStruct.Pin = DISP2_Pin;
  GPIO_InitStruct.Mode = GPIO_MODE_OUTPUT_OD;
  GPIO_InitStruct.Pull = GPIO_NOPULL;
  GPIO_InitStruct.Speed = GPIO_SPEED_FREQ_LOW;
  HAL_GPIO_Init(DISP2_GPIO_Port, &GPIO_InitStruct);

  /*Configure GPIO pin : LD3_Pin */
  GPIO_InitStruct.Pin = LD3_Pin;
  GPIO_InitStruct.Mode = GPIO_MODE_OUTPUT_PP;
  GPIO_InitStruct.Pull = GPIO_NOPULL;
  GPIO_InitStruct.Speed = GPIO_SPEED_FREQ_VERY_HIGH;
  HAL_GPIO_Init(LD3_GPIO_Port, &GPIO_InitStruct);

  /*Configure GPIO pins : Dd_Pin De_Pin Df_Pin */
  GPIO_InitStruct.Pin = Dd_Pin|De_Pin|Df_Pin;
  GPIO_InitStruct.Mode = GPIO_MODE_OUTPUT_PP;
  GPIO_InitStruct.Pull = GPIO_NOPULL;
  GPIO_InitStruct.Speed = GPIO_SPEED_FREQ_LOW;
  HAL_GPIO_Init(GPIOD, &GPIO_InitStruct);

  /*Configure GPIO pin : USB_PowerSwitchOn_Pin */
  GPIO_InitStruct.Pin = USB_PowerSwitchOn_Pin;
  GPIO_InitStruct.Mode = GPIO_MODE_OUTPUT_PP;
  GPIO_InitStruct.Pull = GPIO_NOPULL;
  GPIO_InitStruct.Speed = GPIO_SPEED_FREQ_LOW;
  HAL_GPIO_Init(USB_PowerSwitchOn_GPIO_Port, &GPIO_InitStruct);

  /*Configure GPIO pin : USB_OverCurrent_Pin */
  GPIO_InitStruct.Pin = USB_OverCurrent_Pin;
  GPIO_InitStruct.Mode = GPIO_MODE_INPUT;
  GPIO_InitStruct.Pull = GPIO_NOPULL;
  HAL_GPIO_Init(USB_OverCurrent_GPIO_Port, &GPIO_InitStruct);

  /*Configure GPIO pins : USB_SOF_Pin USB_ID_Pin USB_DM_Pin USB_DP_Pin */
  GPIO_InitStruct.Pin = USB_SOF_Pin|USB_ID_Pin|USB_DM_Pin|USB_DP_Pin;
  GPIO_InitStruct.Mode = GPIO_MODE_AF_PP;
  GPIO_InitStruct.Pull = GPIO_NOPULL;
  GPIO_InitStruct.Speed = GPIO_SPEED_FREQ_VERY_HIGH;
  GPIO_InitStruct.Alternate = GPIO_AF10_OTG_FS;
  HAL_GPIO_Init(GPIOA, &GPIO_InitStruct);

  /*Configure GPIO pin : USB_VBUS_Pin */
  GPIO_InitStruct.Pin = USB_VBUS_Pin;
  GPIO_InitStruct.Mode = GPIO_MODE_INPUT;
  GPIO_InitStruct.Pull = GPIO_NOPULL;
  HAL_GPIO_Init(USB_VBUS_GPIO_Port, &GPIO_InitStruct);

}

void Error_Handler(void)
{
}

/************************ (C) COPYRIGHT STMicroelectronics *****END OF FILE****/
